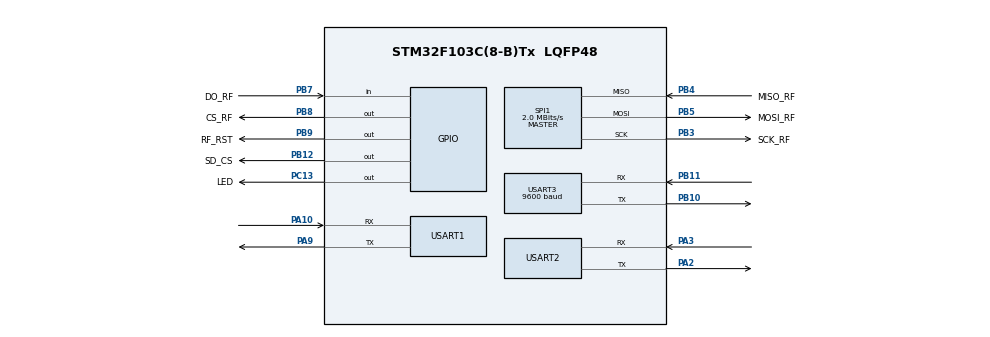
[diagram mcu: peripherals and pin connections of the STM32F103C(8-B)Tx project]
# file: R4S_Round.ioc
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Mcu.Family=STM32F1
NVIC.USART3_IRQn=true\:1\:0\:true\:true\:true\:5\:true\:true
NVIC.DMA1_Channel5_IRQn=true\:1\:0\:true\:true\:true\:1\:false\:true
SPI1.VirtualType=VM_MASTER
PB10.Mode=Asynchronous
PB11.Signal=USART3_RX
Dma.USART2_RX.1.MemDataAlignment=DMA_MDATAALIGN_BYTE
ProjectManager.StackSize=0x400
PD1-OSC_OUT.Signal=RCC_OSC_OUT
USART3.BaudRate=9600
SPI1.Direction=SPI_DIRECTION_2LINES
Dma.USART2_RX.1.PeriphInc=DMA_PINC_DISABLE
SPI1.CalculateBaudRate=2.0 MBits/s
Dma.USART2_RX.1.MemInc=DMA_MINC_ENABLE
Dma.USART1_RX.0.Priority=DMA_PRIORITY_LOW
PB3.Mode=Full_Duplex_Master
PB12.GPIO_Label=SD_CS
PB4.Mode=Full_Duplex_Master
PA14.Mode=Serial_Wire
PB5.Mode=Full_Duplex_Master
PB8.PinState=GPIO_PIN_SET
PB7.Signal=GPIO_Input
Dma.USART1_RX.0.MemInc=DMA_MINC_ENABLE
PB7.GPIO_Label=DO_RF
Mcu.Package=LQFP48
PB9.Signal=GPIO_Output
USART2.VirtualMode=VM_ASYNC
PA10.Signal=USART1_RX
PB5.GPIO_Label=MOSI_RF
Dma.Request1=USART2_RX
Dma.USART1_RX.0.Mode=DMA_NORMAL
NVIC.USART1_IRQn=true\:1\:0\:true\:true\:true\:3\:true\:true
Dma.USART2_RX.1.Mode=DMA_NORMAL
Dma.Request0=USART1_RX
SPI1.BaudRatePrescaler=SPI_BAUDRATEPRESCALER_4
Dma.USART1_RX.0.Instance=DMA1_Channel5
PB4.Signal=SPI1_MISO
PA3.Signal=USART2_RX
PB3.GPIO_Label=SCK_RF
NVIC.DMA1_Channel6_IRQn=true\:1\:0\:true\:true\:true\:2\:false\:true
Dma.USART2_RX.1.Priority=DMA_PRIORITY_LOW
PD1-OSC_OUT.Mode=HSE-External-Oscillator
Dma.USART1_RX.0.PeriphDataAlignment=DMA_PDATAALIGN_BYTE
PB9.GPIO_Label=RF_RST
PA10.Mode=Asynchronous
PC13-TAMPER-RTC.Signal=GPIO_Output
PD0-OSC_IN.Signal=RCC_OSC_IN
NVIC.USART2_IRQn=true\:1\:0\:true\:true\:true\:4\:true\:true
PA13.Signal=SYS_JTMS-SWDIO
PA3.Mode=Asynchronous
PB8.GPIO_Label=CS_RF
PA9.Mode=Asynchronous
PB11.Mode=Asynchronous
ProjectManager.TargetToolchain=STM32CubeIDE
Dma.USART1_RX.0.Direction=DMA_PERIPH_TO_MEMORY
PA9.Signal=USART1_TX
Dma.USART1_RX.0.PeriphInc=DMA_PINC_DISABLE
PB12.GPIO_Speed=GPIO_SPEED_FREQ_MEDIUM
Dma.USART2_RX.1.Instance=DMA1_Channel6
VP_FATFS_VS_Generic.Mode=User_defined
PB10.Signal=USART3_TX
PD0-OSC_IN.Mode=HSE-External-Oscillator
Dma.USART2_RX.1.Direction=DMA_PERIPH_TO_MEMORY
Dma.USART2_RX.1.PeriphDataAlignment=DMA_PDATAALIGN_BYTE
board=custom
PC13-TAMPER-RTC.GPIO_Label=LED
RCC.APB2Freq_Value=8000000
PB4.GPIO_Label=MISO_RF
SPI1.Mode=SPI_MODE_MASTER
Dma.USART1_RX.0.MemDataAlignment=DMA_MDATAALIGN_BYTE
PA13.Mode=Serial_Wire
Mcu.Name=STM32F103C(8-B)Tx
PA2.Signal=USART2_TX
PB3.Signal=SPI1_SCK
PB5.Signal=SPI1_MOSI
USART3.VirtualMode=VM_ASYNC
USART1.VirtualMode=VM_ASYNC
PB9.PinState=GPIO_PIN_SET
PA14.Signal=SYS_JTCK-SWCLK
ProjectManager.HeapSize=0x200
NVIC.PriorityGroup=NVIC_PRIORITYGROUP_4
PA2.Mode=Asynchronous
PB8.Signal=GPIO_Output
RCC.APB1Freq_Value=8000000
PB8.GPIO_Speed=GPIO_SPEED_FREQ_MEDIUM
PB12.Signal=GPIO_Output

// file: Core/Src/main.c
/* USER CODE BEGIN Header */
/**
 ******************************************************************************
 * @file           : main.c
 * @brief          : Main program body
 ******************************************************************************
 * @attention
 *
 * <h2><center>&copy; Copyright (c) 2021 STMicroelectronics.
 * All rights reserved.</center></h2>
 *
 * This software component is licensed by ST under BSD 3-Clause license,
 * the "License"; You may not use this file except in compliance with the
 * License. You may obtain a copy of the License at:
 *                        opensource.org/licenses/BSD-3-Clause
 *
 ******************************************************************************
 */
/* USER CODE END Header */
#include "main.h"
#include "dma.h"
#include "fatfs.h"
#include "spi.h"
#include "usart.h"
#include "gpio.h"

/* USER CODE BEGIN Includes */

#include "Funkcje.h"
#include <stdio.h>

/* USER CODE END Includes */

void SystemClock_Config(void);
static void MX_NVIC_Init(void);

int main(void) {

	/* MCU Configuration--------------------------------------------------------*/

	/* Reset of all peripherals, Initializes the Flash interface and the Systick. */
	HAL_Init();

	/* Configure the system clock */
	SystemClock_Config();

	/* Initialize all configured peripherals */
	MX_GPIO_Init();
	MX_DMA_Init();
	MX_SPI1_Init();
	MX_USART1_UART_Init();
	MX_USART2_UART_Init();
	MX_USART3_UART_Init();
	MX_FATFS_Init();

	/* Initialize interrupts */
	MX_NVIC_Init();
	/* USER CODE BEGIN 2 */

	HAL_Delay(8000);
	initAll();
	rocketState = IDLE;

	/* USER CODE END 2 */

	/* Infinite loop */
	/* USER CODE BEGIN WHILE */
	while (1) {

		loraLoop();
		if (loraBuffer[0] != 0)
			loraReaction();

		setPeriods();

		if (uwTick - timers.sendDataTimer > timers.sendDataPeriod) {

			timers.sendDataTimer = uwTick;
			logAndSendDataLoop();
		}

		if (timers.logDataPeriod > 0
				&& uwTick - timers.logDataTimer > timers.logDataPeriod) {

			timers.logDataPeriod = uwTick;
			logDataLoop();
		}

		if (!ignitionConfirmation && rocketState == READY
				&& uwTick - timers.tenSecondTimer > 10000) {

			timers.tenSecondTimer = uwTick;

			timers.launchTimer -= 10;

			char tempString[40];
			sprintf(tempString, "ASTR;Pozostalo do startu: %d\n",
					timers.launchTimer);
			loraSendData((uint8_t*) tempString, strlen(tempString));

			if (timers.launchTimer <= 0)
				doLaunch();
		}

		/* USER CODE END WHILE */

	}
}

void SystemClock_Config(void) {
	RCC_OscInitTypeDef RCC_OscInitStruct = { 0 };
	RCC_ClkInitTypeDef RCC_ClkInitStruct = { 0 };

	/** Initializes the RCC Oscillators according to the specified parameters
	 * in the RCC_OscInitTypeDef structure.
	 */
	RCC_OscInitStruct.OscillatorType = RCC_OSCILLATORTYPE_HSI;
	RCC_OscInitStruct.HSIState = RCC_HSI_ON;
	RCC_OscInitStruct.HSICalibrationValue = RCC_HSICALIBRATION_DEFAULT;
	RCC_OscInitStruct.PLL.PLLState = RCC_PLL_NONE;
	if (HAL_RCC_OscConfig(&RCC_OscInitStruct) != HAL_OK) {
		Error_Handler();
	}
	/** Initializes the CPU, AHB and APB buses clocks
	 */
	RCC_ClkInitStruct.ClockType = RCC_CLOCKTYPE_HCLK | RCC_CLOCKTYPE_SYSCLK
			| RCC_CLOCKTYPE_PCLK1 | RCC_CLOCKTYPE_PCLK2;
	RCC_ClkInitStruct.SYSCLKSource = RCC_SYSCLKSOURCE_HSI;
	RCC_ClkInitStruct.AHBCLKDivider = RCC_SYSCLK_DIV1;
	RCC_ClkInitStruct.APB1CLKDivider = RCC_HCLK_DIV1;
	RCC_ClkInitStruct.APB2CLKDivider = RCC_HCLK_DIV1;

	if (HAL_RCC_ClockConfig(&RCC_ClkInitStruct, FLASH_LATENCY_0) != HAL_OK) {
		Error_Handler();
	}
}

/**
 * @brief NVIC Configuration.
 * @retval None
 */
static void MX_NVIC_Init(void) {
	/* DMA1_Channel5_IRQn interrupt configuration */
	HAL_NVIC_SetPriority(DMA1_Channel5_IRQn, 1, 0);
	HAL_NVIC_EnableIRQ(DMA1_Channel5_IRQn);
	/* DMA1_Channel6_IRQn interrupt configuration */
	HAL_NVIC_SetPriority(DMA1_Channel6_IRQn, 1, 0);
	HAL_NVIC_EnableIRQ(DMA1_Channel6_IRQn);
	/* USART1_IRQn interrupt configuration */
	HAL_NVIC_SetPriority(USART1_IRQn, 1, 0);
	HAL_NVIC_EnableIRQ(USART1_IRQn);
	/* USART2_IRQn interrupt configuration */
	HAL_NVIC_SetPriority(USART2_IRQn, 1, 0);
	HAL_NVIC_EnableIRQ(USART2_IRQn);
	/* USART3_IRQn interrupt configuration */
	HAL_NVIC_SetPriority(USART3_IRQn, 1, 0);
	HAL_NVIC_EnableIRQ(USART3_IRQn);
}

void Error_Handler(void) {
	__disable_irq();
	while (1) {
	}
}

/************************ (C) COPYRIGHT STMicroelectronics *****END OF FILE****/
